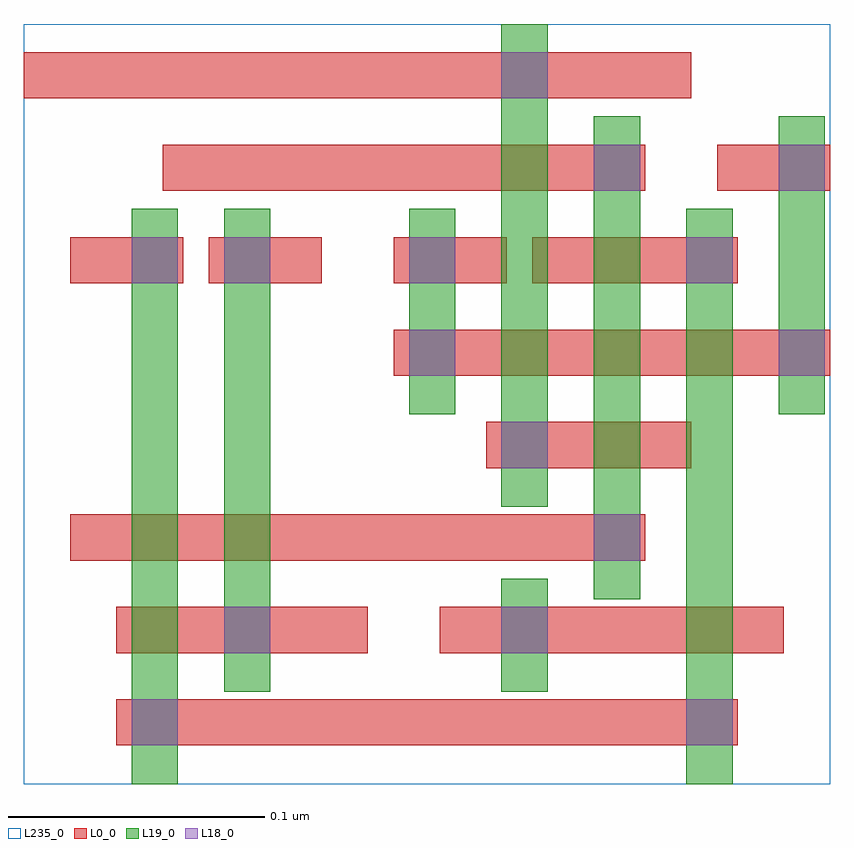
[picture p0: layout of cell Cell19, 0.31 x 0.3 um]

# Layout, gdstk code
import gdstk
lib = gdstk.Library(unit=1e-6, precision=2.5e-10)
def R(c, l, rs):  # rectangles x0, y0, x1, y1
    for r in rs: c.add(gdstk.rectangle(r[:2], r[2:], *l))
L0_0 = (0, 0)
L18_0 = (18, 0)
L19_0 = (19, 0)
L235_0 = (235, 0)

cell19 = lib.new_cell('Cell19')
R(cell19, L0_0, [(0.04,-0.001,0.282,0.017), (0.04,0.035,0.138,0.053), (0.166,0.035,0.3,0.053), (0.022,0.071,0.246,0.089), (0.184,0.107,0.264,0.125), (0.148,0.143,0.318,0.161), (0.022,0.179,0.066,0.197), (0.076,0.179,0.12,0.197), (0.148,0.179,0.192,0.197), (0.202,0.179,0.282,0.197), (0.058,0.215,0.246,0.233), (0.274,0.215,0.318,0.233), (0.004,0.251,0.264,0.269)])
R(cell19, L18_0, [(0.046,-0.001,0.064,0.017), (0.262,-0.001,0.28,0.017), (0.082,0.035,0.1,0.053), (0.19,0.035,0.208,0.053), (0.226,0.071,0.244,0.089), (0.19,0.107,0.208,0.125), (0.154,0.143,0.172,0.161), (0.298,0.143,0.316,0.161), (0.046,0.179,0.064,0.197), (0.082,0.179,0.1,0.197), (0.154,0.179,0.172,0.197), (0.262,0.179,0.28,0.197), (0.226,0.215,0.244,0.233), (0.298,0.215,0.316,0.233), (0.19,0.251,0.208,0.269)])
R(cell19, L19_0, [(0.046,-0.016,0.064,0.208), (0.262,-0.016,0.28,0.208), (0.082,0.02,0.1,0.208), (0.19,0.02,0.208,0.064), (0.226,0.056,0.244,0.244), (0.19,0.092,0.208,0.28), (0.154,0.128,0.172,0.208), (0.298,0.128,0.316,0.244)])
R(cell19, L235_0, [(0.004,-0.016,0.318,0.28)])

lib.write_gds('Cell19.gds')
